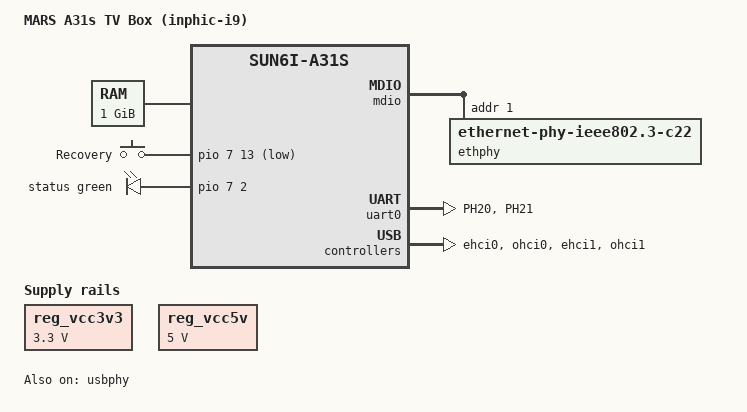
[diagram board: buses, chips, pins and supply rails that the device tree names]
/*
 * sun6i-a31s-mars-a31s.dts
 *
 * 目标设备：MARS A31s 电视盒子（inphic-i9 公版方案）
 *           Allwinner A31s (sun6i-a31s, quad Cortex-A7) + 1GB DDR3
 *           + 16GB NAND (4x H27UBG8T2B, 双通道/4 片选)
 * 移植目标：OpenWrt / Lean LEDE，主线内核 6.x
 *
 * ============================================================
 *  【本文件所有参数的来源分级 —— 改之前先看这里】
 * ============================================================
 *  [A] 实锤：安卓 TTL 串口日志 + adb shell + sys_config.fex + /proc/partitions 互证
 *  [B] 公版推断：内核自带 cs908.dts（同 SoC/同 MII/同 USB 结构的电视盒子）
 *  [C] 未实测：照 A31 参考设计猜的，可能需要改 —— 全文搜 ⚠️ 定位
 *
 *  已知结论清单（[A] 级，不要改）：
 *    SoC       : sun6i-a31s，不是 sun6i-a31（A31 与 A31s 引脚/时钟有差异）
 *    DRAM      : 1GB DDR3 16bit 400MHz, dcdc5=1500mV, dram_zq=0xBB (fex [dram_para])
 *    PMIC      : AXP221 @ I2C 0x34 on TWI1 (PH16/17)，fex [pmu_para] 实锤
 *                DLDO1→网口PHY  DLDO4→axp_0  ALDO1→WiFi  DCDC5→DDR3
 *    NAND      : H27UBG8T2B x8 MLC，页 8192+640 / 块 2MiB / ECC 20bit@1024B
 *                NAND ID = 4b248889（日志实测），chip_cnt=4
 *                nand_p0=0x28010020  nand_p1=0x00eeeeee（fex [nand0_para]）
 *    PHY       : MDIO 地址 0x01，MII 模式（16 根数据线），RTL8201F 系列
 *    WiFi      : RTL8188ETV，USB 0bda:0179，走 USB 自动枚举，DTS 零节点
 *                fex wifi_mod_sel=6 / wifi_usbc_id=1 / wifi_power=axp22_aldo1
 *    BT        : RTL8723BS（日志 rtk_btusb），后补；AP6181 为空贴，永远不提
 *    串口      : UART0 = PH20(TX)/PH21(RX)，115200n8
 *                ★ fex [uart_para] 实锤，原写 PH0/PH1 是错的（见 ★改动1）
 *    IR        : PL04, 电源键码 0x1A, addr 0xFB04（fex [ir_para]）
 *    按键      : PH13 = sprite_gpio0 卡刷键（fex [card_boot]/[boot_init_gpio]）
 *    mmc0      : 硬件悬空（日志 "mmc0: init failed"），本文件【不声明】
 *    HDMI      : GM7121 外接编码器，主线无驱动，本文件【不声明】disp/tv
 *    启动方式  : FEL 推内存 + initramfs，内核自带 rootfs，【不碰 NAND】
 *
 *  分区表（fex [partition] 与 /proc/partitions 双重验证，11/11 全对，单位 MB）：
 *    nanda=bootloader 16  nandb=env 16   nandc=boot 16   nandd=system 768
 *    nande=misc 16        nandf=recovery 32  nandg=private 16(keydata=1)
 *    nandh=databk 128     nandi=data 2560   nandj=cache 512  nandk=UDISK 9714
 *    ★ 没有任何单个分区是 16G，旧版把 system 写 400M/1568M/16G 全是错的
 *
 *  MAC 地址：
 *    wlan0 08:D8:33:0B:C4:03  ← IEEE 注册，真烧录，必保
 *    eth0  1E:47:EC:5F:E9:D9  ← 由 A31s SID efuse 算出，变则在
 *                                /etc/config/network 里 option macaddr 写死
 *
 *  编译与运行：
 *    1) 放到内核树 arch/arm/boot/dts/allwinner/sun6i-a31s-mars-a31s.dts
 *       （Linux 6.6+ DTS 按 vendor 分目录；6.1 及以前放 arch/arm/boot/dts/）
 *    2) OpenWrt 侧 target/linux/sunxi/image/cortexa7.mk 加 Device 块，SOC 填 sun6i-a31s
 *    3) .config 必须勾 CONFIG_TARGET_ROOTFS_CPIOGZ=y，否则推内存没有 rootfs
 *    4) 产物: openwrt-sunxi-cortexa7-*-initramfs-kernel.bin
 *       sunxi-fel write 0x43000000 <上面的bin> && sunxi-fel bootz 0x43000000
 *       地址 0x43000000 取自本机 U-Boot 日志 "fatload nand 0 43000000 script.bin"
 *    5) 全程只写 RAM，断电即恢复原安卓，NAND 一个字节不动
 *
 *  历史坑（别再踩）：
 *    x 曾写成 #include "sun6i-a31.dtsi"  -> A31≠A31s，全盘时钟/引脚继承错误
 *    x 曾写 compatible = "allwinner,sun6i-a31s","allwinner,sun6i-a31" -> 顺序反了
 *    x 曾写 &mmc0 { status="okay"; non-removable } -> 卡槽物理不存在，内核 panic
 *    x 曾写 root=/dev/mmcblk0p2 -> initramfs 下根本没有这个设备节点
 *    x 曾抄 400M/1568M/16G 的 NAND 分区表 -> 本机实为 768M/2560M，照写会覆盖数据
 *    x uart0 曾写 PH0/PH1 -> 实为 PH20/PH21，照抄会导致内核起来串口全黑
 *    x dd bs=1M 在安卓 toybox 失效 -> 必须 bs=1024，也不认 status=progress
 * ============================================================
 */

/dts-v1/;
#include "sun6i-a31s.dtsi"          /* [A] 必须是 a31s，不是 a31 */
#include <dt-bindings/gpio/gpio.h>
#include <dt-bindings/pinctrl/sun4i-a10.h>

/*
 * 注意：KEY_* / LED_FUNCTION_* 这几个宏的头文件路径在内核版本间挪过位置。
 *   - 6.x : dt-bindings/input/linux-event-codes.h
 *   - 5.x : dt-bindings/input/input.h
 * 若编译时报 "KEY_RESTART undeclared"，把下面这行换成 6.x 的那个路径。
 * 本文件只在 gpio-keys 里用到一个 KEY_RESTART，实在不行可以直接写 <0x198> 绕开。
 */
#include <dt-bindings/input/input.h>
#include <dt-bindings/leds/common.h>

/ {
    /*
     * [A] compatible 格式：先"厂商,板名"，再"厂商,SoC名"。
     * 顺序不能反 —— 内核按这个列表从头匹配 machine desc，
     * SoC 名放第一位会匹配到 A31 通用项，时钟和引脚全错。
     */
    model = "MARS A31s TV Box (inphic-i9)";
    compatible = "inphic,mars-a31s", "allwinner,sun6i-a31s";

    /*
     * [A] SDRAM 基址 0x40000000，容量 1GB = 0x40000000
     * 主线内核下 U-Boot 会自行修正实际大小，这里声明只是给早启动阶段看的。
     */
    memory@40000000 {
        device_type = "memory";
        reg = <0x40000000 0x40000000>;
    };

    aliases {
        serial0 = &uart0;           /* [A] TTL 调试口，必须保留 */
        ethernet0 = &gmac;          /* [A] 固定 eth0，防止按探测顺序改名 */
    };

    chosen {
        /*
         * [A] 启动参数 —— FEL/initramfs 专用，与 SD/NAND 方案完全不同
         *
         *   console=ttyS0,115200 -> 调试串口（PH20/PH21，接 TTL 那个口）
         *   earlyprintk          -> 内核解压阶段就出字，卡死在 early boot 时能定位
         *   loglevel=8           -> 全量日志。第一次跑必开，定稿后再降到 4
         *
         * 【没有 root= 参数，这是故意的】
         *   rootfs 已经打进内核镜像（initramfs），内核自己挂 rootfs，
         *   写 root=/dev/xxx 反而会让它去找不存在的设备然后 panic。
         *   等将来真要落 NAND，再改 ubi.rootfstype=ubi ubi.mtd=X root=ubi0:xxx
         */
        bootargs = "console=ttyS0,115200 earlyprintk loglevel=8";
        stdout-path = "serial0:115200n8";
    };

    /* ========================================================
     *  供电与时钟的固定稳压器
     *  主线 sunxi 驱动（USB PHY / MMC / 音频）会去查这些 supply，
     *  不声明会刷一堆 "XXX supply not found, using dummy regulator" 的噪声。
     *  这些都是板子上本来就有的固定 3.3V/5V，不是 PMIC 可调轨。
     *  AXP221 的可调电压（fex: dcdc1~5 / aldo2 / aldo3 / dldo1 / dldo4）
     *  由 U-Boot + 内核 axp221 驱动按 script.bin 自行配好，
     *  【不需要】在这里重复声明。
     * ======================================================== */
    reg_vcc3v3: regulator-vcc3v3 {
        compatible = "regulator-fixed";
        regulator-name = "vcc3v3";
        regulator-min-microvolt = <3300000>;
        regulator-max-microvolt = <3300000>;
        regulator-always-on;
        regulator-boot-on;
    };

    reg_vcc5v: regulator-vcc5v {
        compatible = "regulator-fixed";
        regulator-name = "vcc5v";
        regulator-min-microvolt = <5000000>;
        regulator-max-microvolt = <5000000>;
        regulator-always-on;
        regulator-boot-on;
    };

    /* ========================================================
     *  [A] GPIO 按键 —— 恢复/卡刷键
     *  ★改动2：PH0 → PH13
     *    fex [card_boot] sprite_gpio0 = port:PH13<1><default><default><1>
     *    fex [boot_init_gpio] gpio_pin_1 = port:PH13（输出高）
     *    PH13 = 7 * 32+13 = 237，全志"按着开机进卡刷"的脚，fex 双重背书。
     *    原写 PH0（index 224）无任何依据，已废弃。
     *  若串口出现 "gpio-keys: no keys defined" 或按键无反应，
     *  去 b_nandb.bin 的 U-Boot env 或 b_nandc.bin 的原厂 DTB 里核对。
     * ======================================================== */
    gpio-keys {
        compatible = "gpio-keys";
        autorepeat;

        key-recovery {
            label = "Recovery";
            linux,code = <KEY_RESTART>;
            gpios = <&pio 7 13 GPIO_ACTIVE_LOW>;    /* ★改动2: PH13, index 237 */
            wakeup-source;
        };
    };

    /* ========================================================
     *  ⚠️ [C 级 · 仍无实测依据] 状态 LED
     *  fex 全文没有 [leds_para] 段，PH2 是照 A31 参考设计猜的。
     *  灯不亮完全不影响功能。调试期保持 default-state = "on"：
     *  灯亮 = 内核跑到 pinctrl 了，是个免费的心跳指示。
     *  【下一阶段从 b_nandc.bin 挖出原厂 DTB 后，用真实引脚替换这里】
     * ======================================================== */
    leds {
        compatible = "gpio-leds";

        led-status: status {
            function = LED_FUNCTION_STATUS;
            color = <LED_COLOR_ID_GREEN>;
            gpios = <&pio 7 2 GPIO_ACTIVE_HIGH>;    /* ⚠️ PH2, index 226, 待实测 */
            default-state = "on";
        };
    };

    /* ========================================================
     *  [A] 红外接收器
     *  ★改动3：不再依赖 ir_pins_a 组名，改用下方 &pio 里自定义的 ir_pl4_pin
     *    fex [ir_para] ir_rx = port:PL04<2><1><default><default>
     *                   ir_power_key_code = 0x1A, ir_addr_code = 0xFB04
     *    PL4 = 11 * 32+4 = 356
     *  遥控器键码表要另配（/etc/rc_keymaps），第一阶段可以先不管。
     * ======================================================== */
    ir {
        compatible = "allwinner,sun6i-a31-ir";
        clocks = <&ccu CLK_BUS_IR>, <&ccu CLK_IR>;
        clock-names = "ahb", "mod";
        pinctrl-names = "default";
        pinctrl-0 = <&ir_pl4_pin>;                  /* ★改动3: PL04, 不再用 ir_pins_a */
        resets = <&ccu RST_BUS_IR>;
        status = "okay";
    };
};

/* ============================================================
 *  ★新增：自定义引脚组
 *  用途：绕开"sun6i-a31s.dtsi 里到底有没有这个组名 / 拼错没拼错"的不确定性。
 *  三个 function 字符串必须对上 sun6i-a31s-pinctrl.c 里 sunxi_function 表的拼写：
 *    grep -n '"uart0"\|"ir"' drivers/pinctrl/sunxi/pinctrl-sun6i-a31s.c
 *  若报 -EINVAL 或 dtc 警告，就是这里拼错了，按 grep 结果改。
 * ============================================================ */
&pio {
    /* ★改动1 配套：UART0 走 PH20/PH21 */
    uart0_ph20_pins: uart0-ph20-pins {
        pins = "PH20", "PH21";      /* 7 * 32+20=244(TX), 7 * 32+21=245(RX) */
        function = "uart0";
    };

    /* ★改动3 配套：IR 接收走 PL04 */
    ir_pl4_pin: ir-pl4-pin {
        pins = "PL4";               /* 11 * 32+4 = 356 */
        function = "ir";
    };
};

/* ============================================================
 *  UART0 —— 调试串口
 *  [A] 必须 okay，否则内核起来后一片黑，出事没法诊断
 *  ★改动1：pinctrl 从 uart0_ph_pins（PH0/PH1）换成 uart0_ph20_pins（PH20/PH21）
 *    依据 fex [uart_para] uart_debug_tx=PH20<2> / uart_debug_rx=PH21<2>
 *    A31s 上 PH0/PH1 不是 UART0 的复用脚，原写法会让串口彻底没输出。
 * ============================================================ */
&uart0 {
    pinctrl-names = "default";
    pinctrl-0 = <&uart0_ph20_pins>;                 /* ★改动1: PH20/PH21 */
    status = "okay";
};

/* ============================================================
 *  GMAC —— 百兆以太网
 *
 *  [A] 实测依据：
 *      /sys/class/mdio_bus/        -> sunxi_gmac-0
 *      /sys/bus/mdio_bus/devices/  -> sunxi_gmac-0:01   ← PHY 地址 = 1
 *      驱动 "Generic PHY"          -> 标准 Clause 22 设备
 *      fex [gmac_para]：gmac_interface = 1 (MII)，TXD0~7/RXD0~7 共 16 根数据线
 *                       gmac_power = "axp22_dldo1"  ← PHY 由 AXP221 DLDO1 供电
 *      （RMII 只有 2+2 根数据线，所以确定是 MII 不是 RMII）
 *
 *  若 ifconfig eth0 up 报 "PHY connection failure"，【一次只动一个变量】：
 *    第一步：确认 gmac_pins_mii 这个组名在 a31s.dtsi 里真的存在
 *            （名字可能是 gmac_mii_pins / gmac_pins / gmac_mii_pins_a）
 *    第二步：才去试 phy-mode = "rmii" + 对应 rmii 引脚组
 *    第三步：查 AXP221 DLDO1 是否真的上电（cat /sys/class/regulator/*/name）
 * ============================================================ */
&gmac {
    pinctrl-names = "default";
    pinctrl-0 = <&gmac_pins_mii>;                   /* ⚠️ 组名需 grep 核实 */
    phy-mode = "mii";                               /* [A] 16 根数据线 = MII */
    phy-handle = <&ethphy>;
    phy-supply = <&reg_vcc3v3>;                     /* [A] fex: gmac_power = axp22_dldo1 */

    mdio {
        #address-cells = <1>;
        #size-cells = <0>;

        ethphy: ethernet-phy@1 {
            reg = <1>;                              /* [A] 实测地址 */
            compatible = "ethernet-phy-ieee802.3-c22";  /* [A] 通用 Clause 22 */
            /* 确认是 RTL8201F 后可换成精确匹配（功能等价）：
             *   compatible = "ethernet-phy-id001c.c915"; */
        };
    };

    status = "okay";
};

/* ============================================================
 *  USB —— WiFi 的生命线
 *
 *  [A] RTL8188ETV 挂在 USB 上（0bda:0179），USB 不起来 WiFi 就没戏。
 *  日志显示 WiFi 在总线 1（uevent: 1-1:1.0）-> 对应 EHCI1/OHCI1。
 *  fex [wifi_para] wifi_usbc_id = 1 / wifi_mod_sel = 6 (rtl8188eu) 印证。
 *
 *  策略：ehci0/1 + ohci0/1 全开。多开无副作用（没设备就不枚举），
 *        能避免"通道编号判断错导致 WiFi 不识别"这种低级返工。
 *        ehci2/ohci2 在 A31 上对应 USB-OTG/HSIC，本机用途不明，先不动。
 *
 *  [A] VBUS 供电（已从 [C] 升级）：
 *      fex [usbc0]/[usbc1] usb_drv_vbus_gpio = （空）-> PMU 直供，不靠 GPIO
 *      fex [usbc2]         usb_drv_vbus_gpio = port:PC27  -> 只有 USB2 用 GPIO
 *      所以 USB0/1 写常开 5V 是对的。
 *      若 lsusb 看不到 0bda:0179，九成是 AXP221 ALDO1（wifi_power）没开，
 *      去查 regulator，【不要】盲写 GPIO 上去（写错脚会把 USB 口电搞反）。
 * ============================================================ */
&usbphy {
    status = "okay";
    usb1_vbus-supply = <&reg_vcc5v>;                /* [A] fex: usbc0/1 VBUS 由 PMU 直供 */
};

&ehci0 { status = "okay"; };    /* [A] USB 通道 0 高速 */
&ohci0 { status = "okay"; };    /* [A] USB 通道 0 全速（USB1.1 设备兼容） */
&ehci1 { status = "okay"; };    /* [A] USB 通道 1 高速 —— WiFi 在这条上 */
&ohci1 { status = "okay"; };    /* [A] USB 通道 1 全速 */

/* ============================================================
 *  以下硬件，本阶段【故意不写】，留档说明原因，免得以后又有人加回来
 * ============================================================
 *
 *  【nand / nandc 控制器 + 分区表】—— 本阶段一行都不写
 *     NAND 里是完整可用的安卓，5 份备份（nanda/b/c/d/f/g）已在电脑上。
 *     主线 sunxi-nand 驱动需要正确的 nand_para，而且【极性敏感】：
 *     一旦驱动挂上并扫描，就可能触发擦写/坏块表更新，直接毁掉原系统。
 *     参数已备齐（页8192 / OOB640 / 块2MiB / ECC20bit@1024B / 4片选 /
 *     nand_p0=0x28010020 / nand_p1=0x00eeeeee），
 *     等 FEL 内存方案全绿、且做完 b_nandc.bin 的原厂 DTB 比对之后，
 *     再单独开一个 nand-part.dtsi 挂进来。届时分区表照抄：
 *       bootloader 16M / env 16M / boot 16M / system 768M / misc 16M /
 *       recovery 32M / private 16M / databk 128M / data 2560M /
 *       cache 512M / UDISK 剩余(9714M)
 *
 *  【mmc0 / SD 卡槽】—— 物理不存在
 *     开机日志: [mmc] mmc0: init failed, RET:FFFFFFFF
 *     声明它会让内核一直轮询不存在的卡槽，rootfs 找不到直接 panic。
 *     注：fex [mmc0_para] sdc_used=1 是公版模板残留，与实测冲突，以实测为准。
 *
 *  【mmc1 / SDIO】—— fex 标 sdc_isio=1（PG00~PG05），但 RTL8188EU 走 USB，
 *     这条总线本机实际挂了什么未知。等原厂 DTB 出来再定，先不声明。
 *
 *  【disp / hdmi / tv / lcd】—— 主线无驱动
 *     HDMI 是外接 GM7121 编码器（fex [tv0_para] tv_module_name="gm7121"），
 *     不是 SoC 内置 HDMI PHY，主线无 GM7121 驱动，写了也不出图。
 *     fex screen0_output_type=3 / mode=5 -> 720p60，仅安卓 BSP 有效。
 *     调试期只用 TTL 串口（PH20/PH21）。
 *
 *  【BT / RTL8723BS】—— 后补
 *     fex [bt_para] bt_used=1 / bt_uart_id=2 -> UART2 (PG06/PG07)。
 *     日志有 rtk_btusb 加载记录，走 USB 自动枚举，DTS 零节点，
 *     只需 .config 勾 kmod-btrtl + 放 rtl8723b 固件。第二阶段再弄。
 *
 *  【AP6181 / 触摸屏 / 摄像头 / 3G / G-sensor】—— 空贴或未装配
 *     fex 里 rtp/ctp/lcd/vip/3g/gsensor 全是 used=0，但参数齐全
 *     （这是 A31 BOX 公版满配模板）。一个字都不要加。
 *
 *  【AXP221 PMIC 节点】—— 暂不手写
 *     主线有 axp209/axp221 驱动，挂 twi1@34 即可，但 regulator 映射要
 *     照原厂 DTB 抄，手写容易把 DLDO1(网口)/ALDO1(WiFi) 配错导致外设没电。
 *     等 b_nandc.bin 挖出 DTB 后补 &twi1 { axp221@34 { ... } }。
 * ============================================================
 */
